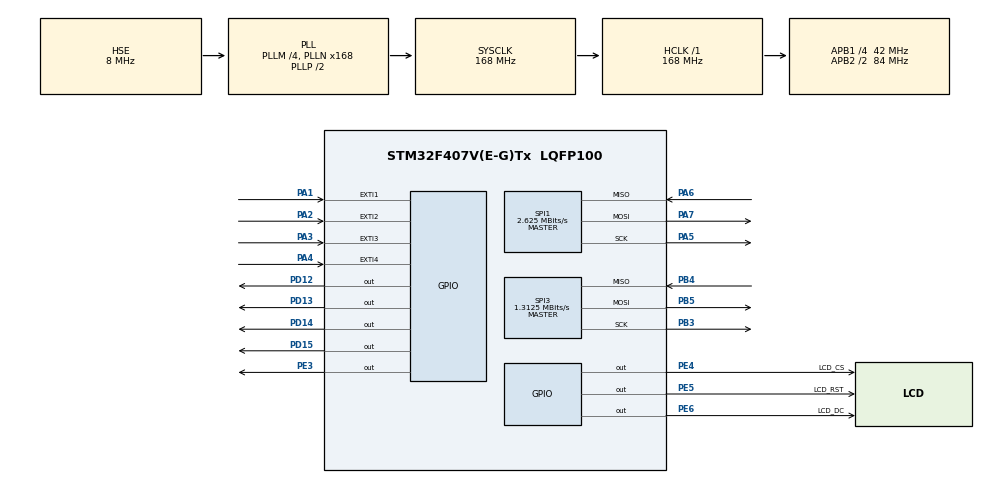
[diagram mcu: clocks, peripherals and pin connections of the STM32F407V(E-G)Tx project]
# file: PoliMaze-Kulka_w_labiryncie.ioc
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Mcu.Family=STM32F4
Mcu.Name=STM32F407V(E-G)Tx
Mcu.Package=LQFP100
NVIC.EXTI1_IRQn=true\:0\:0\:false\:false\:true\:true\:true
NVIC.EXTI2_IRQn=true\:0\:0\:false\:false\:true\:true\:true
NVIC.EXTI3_IRQn=true\:0\:0\:false\:false\:true\:true\:true
NVIC.EXTI4_IRQn=true\:0\:0\:false\:false\:true\:true\:true
NVIC.PriorityGroup=NVIC_PRIORITYGROUP_4
NVIC.TIM3_IRQn=true\:0\:0\:false\:false\:true\:true\:true
NVIC.TIM4_IRQn=true\:0\:0\:false\:false\:true\:true\:true
NVIC.TIM5_IRQn=true\:0\:0\:false\:false\:true\:true\:true
PA1.GPIO_PuPd=GPIO_PULLUP
PA1.Signal=GPXTI1
PA2.GPIO_PuPd=GPIO_PULLUP
PA2.Signal=GPXTI2
PA3.GPIO_PuPd=GPIO_PULLUP
PA3.Signal=GPXTI3
PA4.GPIO_PuPd=GPIO_PULLUP
PA4.Signal=GPXTI4
PA5.Mode=Full_Duplex_Master
PA5.Signal=SPI1_SCK
PA6.Mode=Full_Duplex_Master
PA6.Signal=SPI1_MISO
PA7.Mode=Full_Duplex_Master
PA7.Signal=SPI1_MOSI
PB3.Mode=Full_Duplex_Master
PB3.Signal=SPI3_SCK
PB4.Mode=Full_Duplex_Master
PB4.Signal=SPI3_MISO
PB5.Mode=Full_Duplex_Master
PB5.Signal=SPI3_MOSI
PD12.Signal=GPIO_Output
PD13.Signal=GPIO_Output
PD14.Signal=GPIO_Output
PD15.Signal=GPIO_Output
PE3.Signal=GPIO_Output
PE4.GPIO_Label=LCD_CS
PE4.Signal=GPIO_Output
PE5.GPIO_Label=LCD_RST
PE5.Signal=GPIO_Output
PE6.GPIO_Label=LCD_DC
PE6.Signal=GPIO_Output
PH0-OSC_IN.Mode=HSE-External-Oscillator
PH0-OSC_IN.Signal=RCC_OSC_IN
PH1-OSC_OUT.Mode=HSE-External-Oscillator
PH1-OSC_OUT.Signal=RCC_OSC_OUT
ProjectManager.HeapSize=0x200
ProjectManager.StackSize=0x400
ProjectManager.TargetToolchain=STM32CubeIDE
RCC.48MHZClocksFreq_Value=84000000
RCC.AHBFreq_Value=168000000
RCC.APB1CLKDivider=RCC_HCLK_DIV4
RCC.APB1Freq_Value=42000000
RCC.APB1TimFreq_Value=84000000
RCC.APB2CLKDivider=RCC_HCLK_DIV2
RCC.APB2Freq_Value=84000000
RCC.APB2TimFreq_Value=168000000
RCC.CortexFreq_Value=168000000
RCC.HCLKFreq_Value=168000000
RCC.HSE_VALUE=8000000
RCC.HSI_VALUE=16000000
RCC.LSE_VALUE=32768
RCC.PLLM=4
RCC.PLLN=168
RCC.PLLSourceVirtual=RCC_PLLSOURCE_HSE
RCC.SYSCLKFreq_VALUE=168000000
RCC.SYSCLKSource=RCC_SYSCLKSOURCE_PLLCLK
RCC.VCOOutputFreq_Value=336000000
SPI1.BaudRatePrescaler=SPI_BAUDRATEPRESCALER_32
SPI1.CalculateBaudRate=2.625 MBits/s
SPI1.Direction=SPI_DIRECTION_2LINES
SPI1.Mode=SPI_MODE_MASTER
SPI1.VirtualType=VM_MASTER
SPI3.BaudRatePrescaler=SPI_BAUDRATEPRESCALER_32
SPI3.CalculateBaudRate=1.3125 MBits/s
SPI3.Direction=SPI_DIRECTION_2LINES
SPI3.Mode=SPI_MODE_MASTER
SPI3.VirtualType=VM_MASTER
TIM3.Period=999
TIM3.Prescaler=839
TIM4.Period=199
TIM4.Prescaler=4199
TIM5.Period=399
TIM5.Prescaler=524
VP_TIM3_VS_ClockSourceINT.Mode=Internal
VP_TIM4_VS_ClockSourceINT.Mode=Internal
VP_TIM5_VS_ClockSourceINT.Mode=Internal
board=custom

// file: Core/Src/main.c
/* USER CODE BEGIN Header */
/**
  ******************************************************************************
  * @file           : main.c
  * @brief          : Main program body
  ******************************************************************************
  * @attention
  *
  * <h2><center>&copy; Copyright (c) 2020 STMicroelectronics.
  * All rights reserved.</center></h2>
  *
  * This software component is licensed by ST under BSD 3-Clause license,
  * the "License"; You may not use this file except in compliance with the
  * License. You may obtain a copy of the License at:
  *                        opensource.org/licenses/BSD-3-Clause
  *
  ******************************************************************************
  */
/* USER CODE END Header */

#include "main.h"

/* USER CODE BEGIN Includes */

#include "lis3dsh.h"
#include "ili9341.h"
#include <stdlib.h>

/* USER CODE END Includes */

SPI_HandleTypeDef hspi1;
SPI_HandleTypeDef hspi3;

TIM_HandleTypeDef htim3;
TIM_HandleTypeDef htim4;
TIM_HandleTypeDef htim5;

/* USER CODE BEGIN PV */

float accX, accY, accZ, out[4];
uint16_t val1, val2, val3, val4;
uint16_t butt1=0,butt2=0,butt3=0,butt4=0;
int time=0;
char cstr[16];

/* USER CODE END PV */

void SystemClock_Config(void);
static void MX_GPIO_Init(void);
static void MX_SPI1_Init(void);
static void MX_SPI3_Init(void);
static void MX_TIM4_Init(void);
static void MX_TIM5_Init(void);
static void MX_TIM3_Init(void);
/* USER CODE BEGIN PFP */

void HAL_GPIO_EXTI_Callback(uint16_t GPIO_Pin)
{
	if(butt1>=4 || butt2>=4 || butt3>=4 || butt4>=4){
		butt1=0;
		butt2=0;
		butt3=0;
		butt4=0;
		switch (GPIO_Pin){
		case 2: //przycisk 1
			HAL_GPIO_TogglePin(GPIOD,GPIO_PIN_12);
			ILI9341_FillScreen(ILI9341_BLUE);
			ILI9341_WriteString(10, 10, "Witam serdecznie", Font_7x10, ILI9341_BLACK, ILI9341_WHITE);
			break;
		case 4: //przycisk 2
			HAL_GPIO_TogglePin(GPIOD,GPIO_PIN_13);
			ILI9341_FillScreen(ILI9341_RED);
			ILI9341_WriteString(10, 10, "Dobry wieczor", Font_7x10, ILI9341_BLACK, ILI9341_WHITE);
			break;
		case 8: //przycisk 3
			HAL_GPIO_TogglePin(GPIOD,GPIO_PIN_14);
			ILI9341_FillScreen(ILI9341_GREEN);
			ILI9341_WriteString(10, 10, "Szczesc Boze", Font_7x10, ILI9341_BLACK, ILI9341_WHITE);
			break;
		case 16: //przycisk 4
			HAL_GPIO_TogglePin(GPIOD,GPIO_PIN_15);
			ILI9341_FillScreen(ILI9341_CYAN);
			ILI9341_WriteString(10, 10, "Dzien dobry", Font_7x10, ILI9341_BLACK, ILI9341_WHITE);
			break;
		}
	}
}

void HAL_TIM_PeriodElapsedCallback(TIM_HandleTypeDef *htim){
	if(htim->Instance == TIM4)
		{
			if(HAL_GPIO_ReadPin(GPIOA, GPIO_PIN_1) == GPIO_PIN_SET)
				butt1++;
			if(HAL_GPIO_ReadPin(GPIOA, GPIO_PIN_2) == GPIO_PIN_SET)
				butt2++;
			if(HAL_GPIO_ReadPin(GPIOA, GPIO_PIN_3) == GPIO_PIN_SET)
				butt3++;
			if(HAL_GPIO_ReadPin(GPIOA, GPIO_PIN_4) == GPIO_PIN_SET)
				butt4++;
		}
	if(htim->Instance== TIM3){
		time++;
		itoa(time, cstr, 10);
		ILI9341_WriteString(100, 100, cstr, Font_7x10, ILI9341_BLACK, ILI9341_WHITE);
	}
}

/* USER CODE END PFP */

int main(void)
{

  /* MCU Configuration--------------------------------------------------------*/

  /* Reset of all peripherals, Initializes the Flash interface and the Systick. */
  HAL_Init();

  /* Configure the system clock */
  SystemClock_Config();

  /* Initialize all configured peripherals */
  MX_GPIO_Init();
  MX_SPI1_Init();
  MX_SPI3_Init();
  MX_TIM4_Init();
  MX_TIM5_Init();
  MX_TIM3_Init();
  /* USER CODE BEGIN 2 */
  HAL_TIM_Base_Start_IT(&htim4);

  ILI9341_Unselect();

  LISInit();
  ILI9341_Init();
  ILI9341_FillScreen(ILI9341_MAGENTA);

  HAL_TIM_Base_Start_IT(&htim3);

  /* USER CODE END 2 */

  /* Infinite loop */
  /* USER CODE BEGIN WHILE */
  while (1)
  {
	  LIS3DSH_ReadACC(out);
	  accX = out[0];
	  accY = out[1];
	  accZ = out[2];
    /* USER CODE END WHILE */

  }
}

void SystemClock_Config(void)
{
  RCC_OscInitTypeDef RCC_OscInitStruct = {0};
  RCC_ClkInitTypeDef RCC_ClkInitStruct = {0};

  /** Configure the main internal regulator output voltage
  */
  __HAL_RCC_PWR_CLK_ENABLE();
  __HAL_PWR_VOLTAGESCALING_CONFIG(PWR_REGULATOR_VOLTAGE_SCALE1);
  /** Initializes the CPU, AHB and APB busses clocks
  */
  RCC_OscInitStruct.OscillatorType = RCC_OSCILLATORTYPE_HSE;
  RCC_OscInitStruct.HSEState = RCC_HSE_ON;
  RCC_OscInitStruct.PLL.PLLState = RCC_PLL_ON;
  RCC_OscInitStruct.PLL.PLLSource = RCC_PLLSOURCE_HSE;
  RCC_OscInitStruct.PLL.PLLM = 4;
  RCC_OscInitStruct.PLL.PLLN = 168;
  RCC_OscInitStruct.PLL.PLLP = RCC_PLLP_DIV2;
  RCC_OscInitStruct.PLL.PLLQ = 4;
  if (HAL_RCC_OscConfig(&RCC_OscInitStruct) != HAL_OK)
  {
    Error_Handler();
  }
  /** Initializes the CPU, AHB and APB busses clocks
  */
  RCC_ClkInitStruct.ClockType = RCC_CLOCKTYPE_HCLK|RCC_CLOCKTYPE_SYSCLK
                              |RCC_CLOCKTYPE_PCLK1|RCC_CLOCKTYPE_PCLK2;
  RCC_ClkInitStruct.SYSCLKSource = RCC_SYSCLKSOURCE_PLLCLK;
  RCC_ClkInitStruct.AHBCLKDivider = RCC_SYSCLK_DIV1;
  RCC_ClkInitStruct.APB1CLKDivider = RCC_HCLK_DIV4;
  RCC_ClkInitStruct.APB2CLKDivider = RCC_HCLK_DIV2;

  if (HAL_RCC_ClockConfig(&RCC_ClkInitStruct, FLASH_LATENCY_5) != HAL_OK)
  {
    Error_Handler();
  }
}

static void MX_SPI1_Init(void)
{

  /* SPI1 parameter configuration*/
  hspi1.Instance = SPI1;
  hspi1.Init.Mode = SPI_MODE_MASTER;
  hspi1.Init.Direction = SPI_DIRECTION_2LINES;
  hspi1.Init.DataSize = SPI_DATASIZE_8BIT;
  hspi1.Init.CLKPolarity = SPI_POLARITY_LOW;
  hspi1.Init.CLKPhase = SPI_PHASE_1EDGE;
  hspi1.Init.NSS = SPI_NSS_SOFT;
  hspi1.Init.BaudRatePrescaler = SPI_BAUDRATEPRESCALER_32;
  hspi1.Init.FirstBit = SPI_FIRSTBIT_MSB;
  hspi1.Init.TIMode = SPI_TIMODE_DISABLE;
  hspi1.Init.CRCCalculation = SPI_CRCCALCULATION_DISABLE;
  hspi1.Init.CRCPolynomial = 10;
  if (HAL_SPI_Init(&hspi1) != HAL_OK)
  {
    Error_Handler();
  }

}

static void MX_SPI3_Init(void)
{

  /* SPI3 parameter configuration*/
  hspi3.Instance = SPI3;
  hspi3.Init.Mode = SPI_MODE_MASTER;
  hspi3.Init.Direction = SPI_DIRECTION_2LINES;
  hspi3.Init.DataSize = SPI_DATASIZE_8BIT;
  hspi3.Init.CLKPolarity = SPI_POLARITY_LOW;
  hspi3.Init.CLKPhase = SPI_PHASE_1EDGE;
  hspi3.Init.NSS = SPI_NSS_SOFT;
  hspi3.Init.BaudRatePrescaler = SPI_BAUDRATEPRESCALER_32;
  hspi3.Init.FirstBit = SPI_FIRSTBIT_MSB;
  hspi3.Init.TIMode = SPI_TIMODE_DISABLE;
  hspi3.Init.CRCCalculation = SPI_CRCCALCULATION_DISABLE;
  hspi3.Init.CRCPolynomial = 10;
  if (HAL_SPI_Init(&hspi3) != HAL_OK)
  {
    Error_Handler();
  }

}

static void MX_TIM3_Init(void)
{

  TIM_ClockConfigTypeDef sClockSourceConfig = {0};
  TIM_MasterConfigTypeDef sMasterConfig = {0};

  htim3.Instance = TIM3;
  htim3.Init.Prescaler = 839;
  htim3.Init.CounterMode = TIM_COUNTERMODE_UP;
  htim3.Init.Period = 999;
  htim3.Init.ClockDivision = TIM_CLOCKDIVISION_DIV1;
  htim3.Init.AutoReloadPreload = TIM_AUTORELOAD_PRELOAD_DISABLE;
  if (HAL_TIM_Base_Init(&htim3) != HAL_OK)
  {
    Error_Handler();
  }
  sClockSourceConfig.ClockSource = TIM_CLOCKSOURCE_INTERNAL;
  if (HAL_TIM_ConfigClockSource(&htim3, &sClockSourceConfig) != HAL_OK)
  {
    Error_Handler();
  }
  sMasterConfig.MasterOutputTrigger = TIM_TRGO_RESET;
  sMasterConfig.MasterSlaveMode = TIM_MASTERSLAVEMODE_DISABLE;
  if (HAL_TIMEx_MasterConfigSynchronization(&htim3, &sMasterConfig) != HAL_OK)
  {
    Error_Handler();
  }

}

static void MX_TIM4_Init(void)
{

  TIM_ClockConfigTypeDef sClockSourceConfig = {0};
  TIM_MasterConfigTypeDef sMasterConfig = {0};

  htim4.Instance = TIM4;
  htim4.Init.Prescaler = 4199;
  htim4.Init.CounterMode = TIM_COUNTERMODE_UP;
  htim4.Init.Period = 199;
  htim4.Init.ClockDivision = TIM_CLOCKDIVISION_DIV1;
  htim4.Init.AutoReloadPreload = TIM_AUTORELOAD_PRELOAD_DISABLE;
  if (HAL_TIM_Base_Init(&htim4) != HAL_OK)
  {
    Error_Handler();
  }
  sClockSourceConfig.ClockSource = TIM_CLOCKSOURCE_INTERNAL;
  if (HAL_TIM_ConfigClockSource(&htim4, &sClockSourceConfig) != HAL_OK)
  {
    Error_Handler();
  }
  sMasterConfig.MasterOutputTrigger = TIM_TRGO_RESET;
  sMasterConfig.MasterSlaveMode = TIM_MASTERSLAVEMODE_DISABLE;
  if (HAL_TIMEx_MasterConfigSynchronization(&htim4, &sMasterConfig) != HAL_OK)
  {
    Error_Handler();
  }

}

static void MX_TIM5_Init(void)
{

  TIM_ClockConfigTypeDef sClockSourceConfig = {0};
  TIM_MasterConfigTypeDef sMasterConfig = {0};

  htim5.Instance = TIM5;
  htim5.Init.Prescaler = 524;
  htim5.Init.CounterMode = TIM_COUNTERMODE_UP;
  htim5.Init.Period = 399;
  htim5.Init.ClockDivision = TIM_CLOCKDIVISION_DIV1;
  htim5.Init.AutoReloadPreload = TIM_AUTORELOAD_PRELOAD_DISABLE;
  if (HAL_TIM_Base_Init(&htim5) != HAL_OK)
  {
    Error_Handler();
  }
  sClockSourceConfig.ClockSource = TIM_CLOCKSOURCE_INTERNAL;
  if (HAL_TIM_ConfigClockSource(&htim5, &sClockSourceConfig) != HAL_OK)
  {
    Error_Handler();
  }
  sMasterConfig.MasterOutputTrigger = TIM_TRGO_RESET;
  sMasterConfig.MasterSlaveMode = TIM_MASTERSLAVEMODE_DISABLE;
  if (HAL_TIMEx_MasterConfigSynchronization(&htim5, &sMasterConfig) != HAL_OK)
  {
    Error_Handler();
  }

}

static void MX_GPIO_Init(void)
{
  GPIO_InitTypeDef GPIO_InitStruct = {0};

  /* GPIO Ports Clock Enable */
  __HAL_RCC_GPIOE_CLK_ENABLE();
  __HAL_RCC_GPIOH_CLK_ENABLE();
  __HAL_RCC_GPIOA_CLK_ENABLE();
  __HAL_RCC_GPIOD_CLK_ENABLE();
  __HAL_RCC_GPIOB_CLK_ENABLE();

  /*Configure GPIO pin Output Level */
  HAL_GPIO_WritePin(GPIOE, GPIO_PIN_3|LCD_CS_Pin|LCD_RST_Pin|LCD_DC_Pin, GPIO_PIN_RESET);

  /*Configure GPIO pin Output Level */
  HAL_GPIO_WritePin(GPIOD, GPIO_PIN_12|GPIO_PIN_13|GPIO_PIN_14|GPIO_PIN_15, GPIO_PIN_RESET);

  /*Configure GPIO pins : PE3 LCD_CS_Pin LCD_RST_Pin LCD_DC_Pin */
  GPIO_InitStruct.Pin = GPIO_PIN_3|LCD_CS_Pin|LCD_RST_Pin|LCD_DC_Pin;
  GPIO_InitStruct.Mode = GPIO_MODE_OUTPUT_PP;
  GPIO_InitStruct.Pull = GPIO_NOPULL;
  GPIO_InitStruct.Speed = GPIO_SPEED_FREQ_LOW;
  HAL_GPIO_Init(GPIOE, &GPIO_InitStruct);

  /*Configure GPIO pins : PA1 PA2 PA3 PA4 */
  GPIO_InitStruct.Pin = GPIO_PIN_1|GPIO_PIN_2|GPIO_PIN_3|GPIO_PIN_4;
  GPIO_InitStruct.Mode = GPIO_MODE_IT_RISING;
  GPIO_InitStruct.Pull = GPIO_PULLUP;
  HAL_GPIO_Init(GPIOA, &GPIO_InitStruct);

  /*Configure GPIO pins : PD12 PD13 PD14 PD15 */
  GPIO_InitStruct.Pin = GPIO_PIN_12|GPIO_PIN_13|GPIO_PIN_14|GPIO_PIN_15;
  GPIO_InitStruct.Mode = GPIO_MODE_OUTPUT_PP;
  GPIO_InitStruct.Pull = GPIO_NOPULL;
  GPIO_InitStruct.Speed = GPIO_SPEED_FREQ_LOW;
  HAL_GPIO_Init(GPIOD, &GPIO_InitStruct);

  /* EXTI interrupt init*/
  HAL_NVIC_SetPriority(EXTI1_IRQn, 0, 0);
  HAL_NVIC_EnableIRQ(EXTI1_IRQn);

  HAL_NVIC_SetPriority(EXTI2_IRQn, 0, 0);
  HAL_NVIC_EnableIRQ(EXTI2_IRQn);

  HAL_NVIC_SetPriority(EXTI3_IRQn, 0, 0);
  HAL_NVIC_EnableIRQ(EXTI3_IRQn);

  HAL_NVIC_SetPriority(EXTI4_IRQn, 0, 0);
  HAL_NVIC_EnableIRQ(EXTI4_IRQn);

}

void Error_Handler(void)
{
}

/************************ (C) COPYRIGHT STMicroelectronics *****END OF FILE****/
